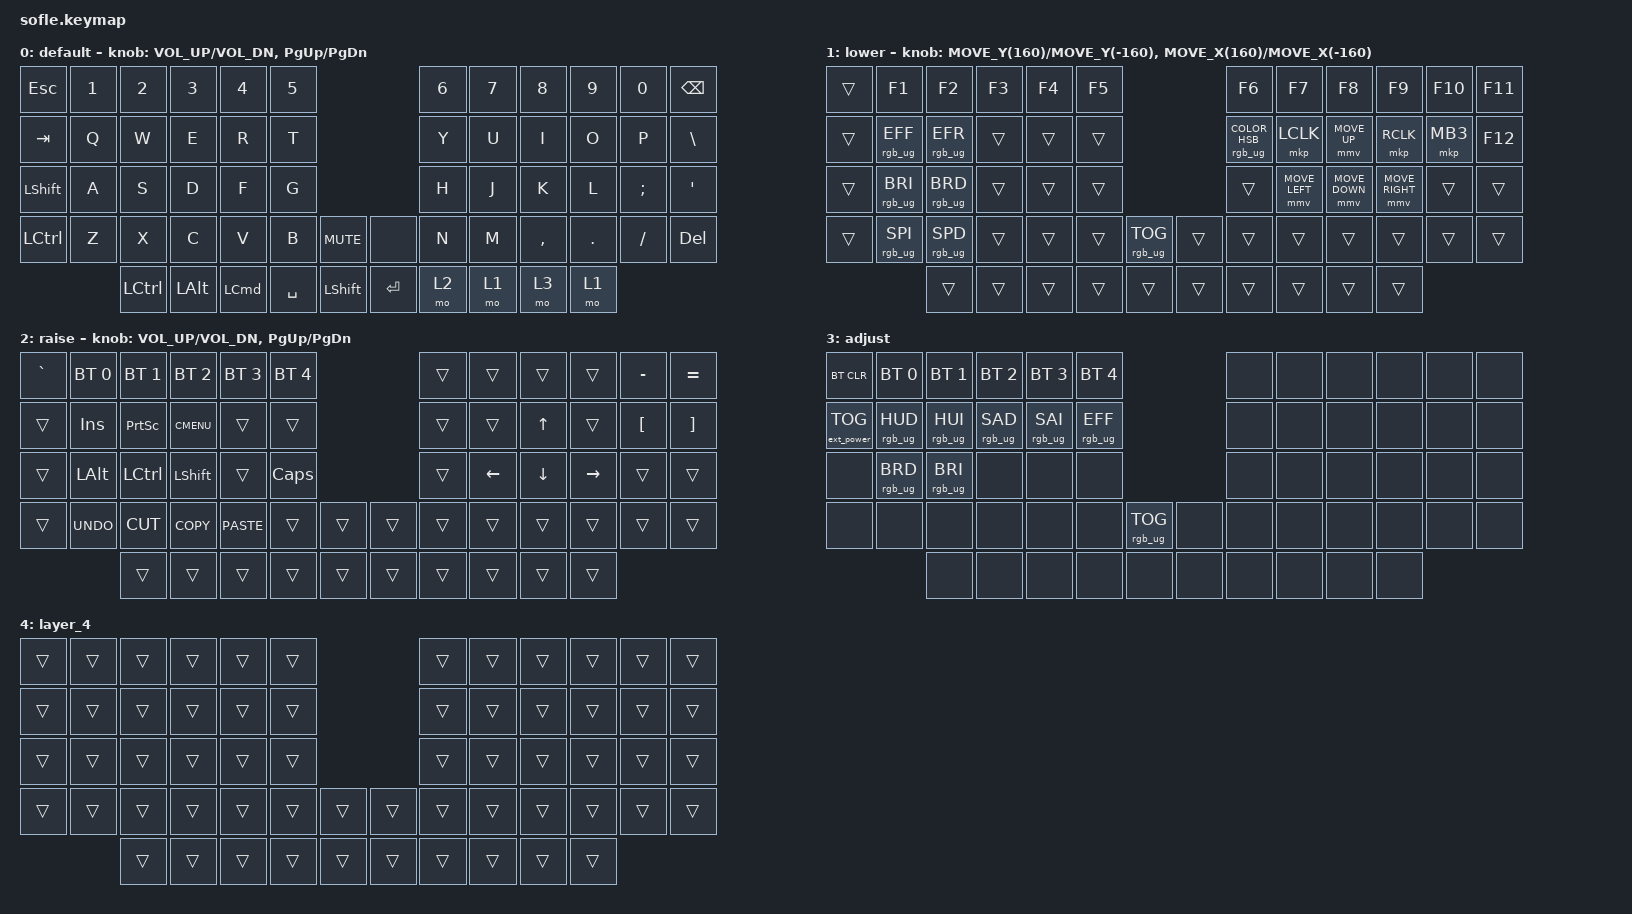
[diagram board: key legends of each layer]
#include <behaviors.dtsi>
#include <dt-bindings/zmk/bt.h>
#include <dt-bindings/zmk/ext_power.h>
#include <dt-bindings/zmk/keys.h>
#include <dt-bindings/zmk/pointing.h>
#include <dt-bindings/zmk/rgb.h>

#define BASE 0
#define LOWER 1
#define RAISE 2
#define ADJUST 3

/ {
    conditional_layers {
        compatible = "zmk,conditional-layers";

        adjust_layer {
            if-layers = <LOWER RAISE>;
            then-layer = <ADJUST>;
        };
    };

    behaviors {
        enc_scroll: enc_scroll {
            compatible = "zmk,behavior-sensor-rotate-var";
            #sensor-binding-cells = <2>;
            bindings = <&msc>, <&msc>;
            tap-ms = <30>;
        };
    };

    keymap {
        compatible = "zmk,keymap";

        default_layer {
            display-name = "default";
            bindings = <
&kp ESC         &kp N1  &kp N2     &kp N3    &kp N4            &kp N5                                  &kp N6  &kp N7  &kp N8     &kp N9   &kp N0    &kp BACKSPACE
&kp TAB         &kp Q   &kp W      &kp E     &kp R             &kp T                                   &kp Y   &kp U   &kp I      &kp O    &kp P     &kp BACKSLASH
&kp LEFT_SHIFT  &kp A   &kp S      &kp D     &kp F             &kp G                                   &kp H   &kp J   &kp K      &kp L    &kp SEMI  &kp SQT
&kp LCTRL       &kp Z   &kp X      &kp C     &kp V             &kp B      &kp C_MUTE        &none      &kp N   &kp M   &kp COMMA  &kp DOT  &kp FSLH  &kp DEL
                        &kp LCTRL  &kp LALT  &kp LEFT_COMMAND  &kp SPACE  &kp LEFT_SHIFT    &kp ENTER  &mo 2   &mo 1   &mo 3      &mo 1
            >;

            sensor-bindings =
                <&inc_dec_kp C_VOL_UP C_VOL_DN>,
                <&inc_dec_kp PAGE_UP PAGE_DOWN>;
        };

        lower_layer {
            display-name = "lower";
            bindings = <
&trans  &kp F1           &kp F2           &kp F3  &kp F4  &kp F5                             &kp F6                          &kp F7          &kp F8          &kp F9           &kp F10   &kp F11
&trans  &rgb_ug RGB_EFF  &rgb_ug RGB_EFR  &trans  &trans  &trans                             &rgb_ug RGB_COLOR_HSB(0,0,100)  &mkp LCLK       &mmv MOVE_UP    &mkp RCLK        &mkp MB3  &kp F12
&trans  &rgb_ug RGB_BRI  &rgb_ug RGB_BRD  &trans  &trans  &trans                             &trans                          &mmv MOVE_LEFT  &mmv MOVE_DOWN  &mmv MOVE_RIGHT  &trans    &trans
&trans  &rgb_ug RGB_SPI  &rgb_ug RGB_SPD  &trans  &trans  &trans  &rgb_ug RGB_TOG    &trans  &trans                          &trans          &trans          &trans           &trans    &trans
                         &trans           &trans  &trans  &trans  &trans             &trans  &trans                          &trans          &trans          &trans
            >;

            sensor-bindings = <&enc_scroll MOVE_Y(160) MOVE_Y(-160) &enc_scroll MOVE_X(160) MOVE_X(-160)>;
        };

        raise_layer {
            display-name = "raise";
            bindings = <
&kp GRAVE  &bt BT_SEL 0  &bt BT_SEL 1  &bt BT_SEL 2  &bt BT_SEL 3  &bt BT_SEL 4                    &trans  &trans    &trans    &trans     &kp MINUS         &kp EQUAL
&trans     &kp INS       &kp PSCRN     &kp K_CMENU   &trans        &trans                          &trans  &trans    &kp UP    &trans     &kp LEFT_BRACKET  &kp RIGHT_BRACKET
&trans     &kp LALT      &kp LCTRL     &kp LSHFT     &trans        &kp CLCK                        &trans  &kp LEFT  &kp DOWN  &kp RIGHT  &trans            &trans
&trans     &kp K_UNDO    &kp K_CUT     &kp K_COPY    &kp K_PASTE   &trans        &trans    &trans  &trans  &trans    &trans    &trans     &trans            &trans
                         &trans        &trans        &trans        &trans        &trans    &trans  &trans  &trans    &trans    &trans
            >;

            sensor-bindings = <&inc_dec_kp C_VOL_UP C_VOL_DN &inc_dec_kp PG_UP PG_DN>;
        };

        adjust_layer {
            display-name = "adjust";
            bindings = <
&bt BT_CLR         &bt BT_SEL 0     &bt BT_SEL 1     &bt BT_SEL 2     &bt BT_SEL 3     &bt BT_SEL 4                               &none  &none  &none  &none  &none  &none
&ext_power EP_TOG  &rgb_ug RGB_HUD  &rgb_ug RGB_HUI  &rgb_ug RGB_SAD  &rgb_ug RGB_SAI  &rgb_ug RGB_EFF                            &none  &none  &none  &none  &none  &none
&none              &rgb_ug RGB_BRD  &rgb_ug RGB_BRI  &none            &none            &none                                      &none  &none  &none  &none  &none  &none
&none              &none            &none            &none            &none            &none            &rgb_ug RGB_TOG    &none  &none  &none  &none  &none  &none  &none
                                    &none            &none            &none            &none            &none              &none  &none  &none  &none  &none
            >;
        };

        layer_4 {
            bindings = <
&trans  &trans  &trans  &trans  &trans  &trans                    &trans  &trans  &trans  &trans  &trans  &trans
&trans  &trans  &trans  &trans  &trans  &trans                    &trans  &trans  &trans  &trans  &trans  &trans
&trans  &trans  &trans  &trans  &trans  &trans                    &trans  &trans  &trans  &trans  &trans  &trans
&trans  &trans  &trans  &trans  &trans  &trans  &trans    &trans  &trans  &trans  &trans  &trans  &trans  &trans
                &trans  &trans  &trans  &trans  &trans    &trans  &trans  &trans  &trans  &trans
            >;
        };
    };
};
